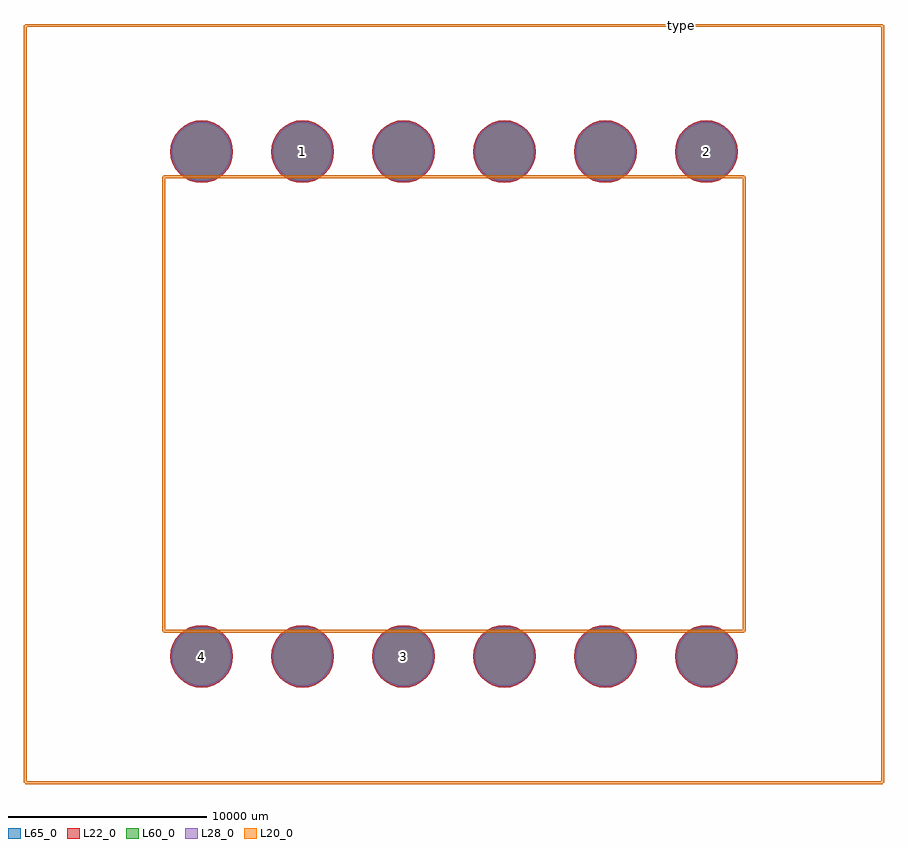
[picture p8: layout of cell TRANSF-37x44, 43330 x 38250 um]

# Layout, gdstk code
import gdstk
lib = gdstk.Library(unit=1e-6, precision=1e-09)
def P(c, l, *ps):  # polygons
    for p in ps: c.add(gdstk.Polygon(p, *l))
L20_0 = (20, 0)
L22_0 = (22, 0)
L28_0 = (28, 0)
L60_0 = (60, 0)
L65_0 = (65, 0)

transf_37x44 = lib.new_cell('TRANSF-37x44')
P(transf_37x44, L22_0, [(14274.87,-12700),(14244.609,-12392.758),(14154.99,-12097.323),(14009.457,-11825.049),(13813.601,-11586.399),(13574.951,-11390.543),(13302.677,-11245.01),(13007.242,-11155.391),(12700,-11125.13),(12392.758,-11155.391),(12097.323,-11245.01),(11825.049,-11390.543),(11586.399,-11586.399),(11390.543,-11825.049),(11245.01,-12097.323),(11155.391,-12392.758),(11125.13,-12700),(11155.391,-13007.242),(11245.01,-13302.677),(11390.543,-13574.951),(11586.399,-13813.601),(11825.049,-14009.457),(12097.323,-14154.99),(12392.758,-14244.609),(12700,-14274.87),(13007.242,-14244.609),(13302.677,-14154.99),(13574.951,-14009.457),(13813.601,-13813.601),(14009.457,-13574.951),(14154.99,-13302.677),(14244.609,-13007.242)],
  [(9194.87,-12700),(9164.609,-12392.758),(9074.99,-12097.323),(8929.457,-11825.049),(8733.601,-11586.399),(8494.951,-11390.543),(8222.677,-11245.01),(7927.242,-11155.391),(7620,-11125.13),(7312.758,-11155.391),(7017.323,-11245.01),(6745.049,-11390.543),(6506.399,-11586.399),(6310.543,-11825.049),(6165.01,-12097.323),(6075.391,-12392.758),(6045.13,-12700),(6075.391,-13007.242),(6165.01,-13302.677),(6310.543,-13574.951),(6506.399,-13813.601),(6745.049,-14009.457),(7017.323,-14154.99),(7312.758,-14244.609),(7620,-14274.87),(7927.242,-14244.609),(8222.677,-14154.99),(8494.951,-14009.457),(8733.601,-13813.601),(8929.457,-13574.951),(9074.99,-13302.677),(9164.609,-13007.242)],
  [(4114.87,-12700),(4084.609,-12392.758),(3994.99,-12097.323),(3849.457,-11825.049),(3653.601,-11586.399),(3414.951,-11390.543),(3142.677,-11245.01),(2847.242,-11155.391),(2540,-11125.13),(2232.758,-11155.391),(1937.323,-11245.01),(1665.049,-11390.543),(1426.399,-11586.399),(1230.543,-11825.049),(1085.01,-12097.323),(995.391,-12392.758),(965.13,-12700),(995.391,-13007.242),(1085.01,-13302.677),(1230.543,-13574.951),(1426.399,-13813.601),(1665.049,-14009.457),(1937.323,-14154.99),(2232.758,-14244.609),(2540,-14274.87),(2847.242,-14244.609),(3142.677,-14154.99),(3414.951,-14009.457),(3653.601,-13813.601),(3849.457,-13574.951),(3994.99,-13302.677),(4084.609,-13007.242)],
  [(-6045.13,-12700),(-6075.391,-12392.758),(-6165.01,-12097.323),(-6310.543,-11825.049),(-6506.399,-11586.399),(-6745.049,-11390.543),(-7017.323,-11245.01),(-7312.758,-11155.391),(-7620,-11125.13),(-7927.242,-11155.391),(-8222.677,-11245.01),(-8494.951,-11390.543),(-8733.601,-11586.399),(-8929.457,-11825.049),(-9074.99,-12097.323),(-9164.609,-12392.758),(-9194.87,-12700),(-9164.609,-13007.242),(-9074.99,-13302.677),(-8929.457,-13574.951),(-8733.601,-13813.601),(-8494.951,-14009.457),(-8222.677,-14154.99),(-7927.242,-14244.609),(-7620,-14274.87),(-7312.758,-14244.609),(-7017.323,-14154.99),(-6745.049,-14009.457),(-6506.399,-13813.601),(-6310.543,-13574.951),(-6165.01,-13302.677),(-6075.391,-13007.242)],
  [(9194.87,12700),(9164.609,13007.242),(9074.99,13302.677),(8929.457,13574.951),(8733.601,13813.601),(8494.951,14009.457),(8222.677,14154.99),(7927.242,14244.609),(7620,14274.87),(7312.758,14244.609),(7017.323,14154.99),(6745.049,14009.457),(6506.399,13813.601),(6310.543,13574.951),(6165.01,13302.677),(6075.391,13007.242),(6045.13,12700),(6075.391,12392.758),(6165.01,12097.323),(6310.543,11825.049),(6506.399,11586.399),(6745.049,11390.543),(7017.323,11245.01),(7312.758,11155.391),(7620,11125.13),(7927.242,11155.391),(8222.677,11245.01),(8494.951,11390.543),(8733.601,11586.399),(8929.457,11825.049),(9074.99,12097.323),(9164.609,12392.758)],
  [(4114.87,12700),(4084.609,13007.242),(3994.99,13302.677),(3849.457,13574.951),(3653.601,13813.601),(3414.951,14009.457),(3142.677,14154.99),(2847.242,14244.609),(2540,14274.87),(2232.758,14244.609),(1937.323,14154.99),(1665.049,14009.457),(1426.399,13813.601),(1230.543,13574.951),(1085.01,13302.677),(995.391,13007.242),(965.13,12700),(995.391,12392.758),(1085.01,12097.323),(1230.543,11825.049),(1426.399,11586.399),(1665.049,11390.543),(1937.323,11245.01),(2232.758,11155.391),(2540,11125.13),(2847.242,11155.391),(3142.677,11245.01),(3414.951,11390.543),(3653.601,11586.399),(3849.457,11825.049),(3994.99,12097.323),(4084.609,12392.758)],
  [(-965.13,12700),(-995.391,13007.242),(-1085.01,13302.677),(-1230.543,13574.951),(-1426.399,13813.601),(-1665.049,14009.457),(-1937.323,14154.99),(-2232.758,14244.609),(-2540,14274.87),(-2847.242,14244.609),(-3142.677,14154.99),(-3414.951,14009.457),(-3653.601,13813.601),(-3849.457,13574.951),(-3994.99,13302.677),(-4084.609,13007.242),(-4114.87,12700),(-4084.609,12392.758),(-3994.99,12097.323),(-3849.457,11825.049),(-3653.601,11586.399),(-3414.951,11390.543),(-3142.677,11245.01),(-2847.242,11155.391),(-2540,11125.13),(-2232.758,11155.391),(-1937.323,11245.01),(-1665.049,11390.543),(-1426.399,11586.399),(-1230.543,11825.049),(-1085.01,12097.323),(-995.391,12392.758)],
  [(-11125.13,12700),(-11155.391,13007.242),(-11245.01,13302.677),(-11390.543,13574.951),(-11586.399,13813.601),(-11825.049,14009.457),(-12097.323,14154.99),(-12392.758,14244.609),(-12700,14274.87),(-13007.242,14244.609),(-13302.677,14154.99),(-13574.951,14009.457),(-13813.601,13813.601),(-14009.457,13574.951),(-14154.99,13302.677),(-14244.609,13007.242),(-14274.87,12700),(-14244.609,12392.758),(-14154.99,12097.323),(-14009.457,11825.049),(-13813.601,11586.399),(-13574.951,11390.543),(-13302.677,11245.01),(-13007.242,11155.391),(-12700,11125.13),(-12392.758,11155.391),(-12097.323,11245.01),(-11825.049,11390.543),(-11586.399,11586.399),(-11390.543,11825.049),(-11245.01,12097.323),(-11155.391,12392.758)],
  [(-6045.13,12700),(-6075.391,13007.242),(-6165.01,13302.677),(-6310.543,13574.951),(-6506.399,13813.601),(-6745.049,14009.457),(-7017.323,14154.99),(-7312.758,14244.609),(-7620,14274.87),(-7927.242,14244.609),(-8222.677,14154.99),(-8494.951,14009.457),(-8733.601,13813.601),(-8929.457,13574.951),(-9074.99,13302.677),(-9164.609,13007.242),(-9194.87,12700),(-9164.609,12392.758),(-9074.99,12097.323),(-8929.457,11825.049),(-8733.601,11586.399),(-8494.951,11390.543),(-8222.677,11245.01),(-7927.242,11155.391),(-7620,11125.13),(-7312.758,11155.391),(-7017.323,11245.01),(-6745.049,11390.543),(-6506.399,11586.399),(-6310.543,11825.049),(-6165.01,12097.323),(-6075.391,12392.758)],
  [(-965.13,-12700),(-995.391,-12392.758),(-1085.01,-12097.323),(-1230.543,-11825.049),(-1426.399,-11586.399),(-1665.049,-11390.543),(-1937.323,-11245.01),(-2232.758,-11155.391),(-2540,-11125.13),(-2847.242,-11155.391),(-3142.677,-11245.01),(-3414.951,-11390.543),(-3653.601,-11586.399),(-3849.457,-11825.049),(-3994.99,-12097.323),(-4084.609,-12392.758),(-4114.87,-12700),(-4084.609,-13007.242),(-3994.99,-13302.677),(-3849.457,-13574.951),(-3653.601,-13813.601),(-3414.951,-14009.457),(-3142.677,-14154.99),(-2847.242,-14244.609),(-2540,-14274.87),(-2232.758,-14244.609),(-1937.323,-14154.99),(-1665.049,-14009.457),(-1426.399,-13813.601),(-1230.543,-13574.951),(-1085.01,-13302.677),(-995.391,-13007.242)],
  [(-11125.13,-12700),(-11155.391,-12392.758),(-11245.01,-12097.323),(-11390.543,-11825.049),(-11586.399,-11586.399),(-11825.049,-11390.543),(-12097.323,-11245.01),(-12392.758,-11155.391),(-12700,-11125.13),(-13007.242,-11155.391),(-13302.677,-11245.01),(-13574.951,-11390.543),(-13813.601,-11586.399),(-14009.457,-11825.049),(-14154.99,-12097.323),(-14244.609,-12392.758),(-14274.87,-12700),(-14244.609,-13007.242),(-14154.99,-13302.677),(-14009.457,-13574.951),(-13813.601,-13813.601),(-13574.951,-14009.457),(-13302.677,-14154.99),(-13007.242,-14244.609),(-12700,-14274.87),(-12392.758,-14244.609),(-12097.323,-14154.99),(-11825.049,-14009.457),(-11586.399,-13813.601),(-11390.543,-13574.951),(-11245.01,-13302.677),(-11155.391,-13007.242)],
  [(14274.87,12700),(14244.609,13007.242),(14154.99,13302.677),(14009.457,13574.951),(13813.601,13813.601),(13574.951,14009.457),(13302.677,14154.99),(13007.242,14244.609),(12700,14274.87),(12392.758,14244.609),(12097.323,14154.99),(11825.049,14009.457),(11586.399,13813.601),(11390.543,13574.951),(11245.01,13302.677),(11155.391,13007.242),(11125.13,12700),(11155.391,12392.758),(11245.01,12097.323),(11390.543,11825.049),(11586.399,11586.399),(11825.049,11390.543),(12097.323,11245.01),(12392.758,11155.391),(12700,11125.13),(13007.242,11155.391),(13302.677,11245.01),(13574.951,11390.543),(13813.601,11586.399),(14009.457,11825.049),(14154.99,12097.323),(14244.609,12392.758)])
P(transf_37x44, L28_0, [(14199.87,-12700),(14171.05,-12407.39),(14085.699,-12126.025),(13947.096,-11866.717),(13760.568,-11639.432),(13533.283,-11452.904),(13273.975,-11314.301),(12992.61,-11228.95),(12700,-11200.13),(12407.39,-11228.95),(12126.025,-11314.301),(11866.717,-11452.904),(11639.432,-11639.432),(11452.904,-11866.717),(11314.301,-12126.025),(11228.95,-12407.39),(11200.13,-12700),(11228.95,-12992.61),(11314.301,-13273.975),(11452.904,-13533.283),(11639.432,-13760.568),(11866.717,-13947.096),(12126.025,-14085.699),(12407.39,-14171.05),(12700,-14199.87),(12992.61,-14171.05),(13273.975,-14085.699),(13533.283,-13947.096),(13760.568,-13760.568),(13947.096,-13533.283),(14085.699,-13273.975),(14171.05,-12992.61)],
  [(9119.87,-12700),(9091.05,-12407.39),(9005.699,-12126.025),(8867.096,-11866.717),(8680.568,-11639.432),(8453.283,-11452.904),(8193.975,-11314.301),(7912.61,-11228.95),(7620,-11200.13),(7327.39,-11228.95),(7046.025,-11314.301),(6786.717,-11452.904),(6559.432,-11639.432),(6372.904,-11866.717),(6234.301,-12126.025),(6148.95,-12407.39),(6120.13,-12700),(6148.95,-12992.61),(6234.301,-13273.975),(6372.904,-13533.283),(6559.432,-13760.568),(6786.717,-13947.096),(7046.025,-14085.699),(7327.39,-14171.05),(7620,-14199.87),(7912.61,-14171.05),(8193.975,-14085.699),(8453.283,-13947.096),(8680.568,-13760.568),(8867.096,-13533.283),(9005.699,-13273.975),(9091.05,-12992.61)],
  [(4039.87,-12700),(4011.05,-12407.39),(3925.699,-12126.025),(3787.096,-11866.717),(3600.568,-11639.432),(3373.283,-11452.904),(3113.975,-11314.301),(2832.61,-11228.95),(2540,-11200.13),(2247.39,-11228.95),(1966.025,-11314.301),(1706.717,-11452.904),(1479.432,-11639.432),(1292.904,-11866.717),(1154.301,-12126.025),(1068.95,-12407.39),(1040.13,-12700),(1068.95,-12992.61),(1154.301,-13273.975),(1292.904,-13533.283),(1479.432,-13760.568),(1706.717,-13947.096),(1966.025,-14085.699),(2247.39,-14171.05),(2540,-14199.87),(2832.61,-14171.05),(3113.975,-14085.699),(3373.283,-13947.096),(3600.568,-13760.568),(3787.096,-13533.283),(3925.699,-13273.975),(4011.05,-12992.61)],
  [(-6120.13,-12700),(-6148.95,-12407.39),(-6234.301,-12126.025),(-6372.904,-11866.717),(-6559.432,-11639.432),(-6786.717,-11452.904),(-7046.025,-11314.301),(-7327.39,-11228.95),(-7620,-11200.13),(-7912.61,-11228.95),(-8193.975,-11314.301),(-8453.283,-11452.904),(-8680.568,-11639.432),(-8867.096,-11866.717),(-9005.699,-12126.025),(-9091.05,-12407.39),(-9119.87,-12700),(-9091.05,-12992.61),(-9005.699,-13273.975),(-8867.096,-13533.283),(-8680.568,-13760.568),(-8453.283,-13947.096),(-8193.975,-14085.699),(-7912.61,-14171.05),(-7620,-14199.87),(-7327.39,-14171.05),(-7046.025,-14085.699),(-6786.717,-13947.096),(-6559.432,-13760.568),(-6372.904,-13533.283),(-6234.301,-13273.975),(-6148.95,-12992.61)],
  [(9119.87,12700),(9091.05,12992.61),(9005.699,13273.975),(8867.096,13533.283),(8680.568,13760.568),(8453.283,13947.096),(8193.975,14085.699),(7912.61,14171.05),(7620,14199.87),(7327.39,14171.05),(7046.025,14085.699),(6786.717,13947.096),(6559.432,13760.568),(6372.904,13533.283),(6234.301,13273.975),(6148.95,12992.61),(6120.13,12700),(6148.95,12407.39),(6234.301,12126.025),(6372.904,11866.717),(6559.432,11639.432),(6786.717,11452.904),(7046.025,11314.301),(7327.39,11228.95),(7620,11200.13),(7912.61,11228.95),(8193.975,11314.301),(8453.283,11452.904),(8680.568,11639.432),(8867.096,11866.717),(9005.699,12126.025),(9091.05,12407.39)],
  [(4039.87,12700),(4011.05,12992.61),(3925.699,13273.975),(3787.096,13533.283),(3600.568,13760.568),(3373.283,13947.096),(3113.975,14085.699),(2832.61,14171.05),(2540,14199.87),(2247.39,14171.05),(1966.025,14085.699),(1706.717,13947.096),(1479.432,13760.568),(1292.904,13533.283),(1154.301,13273.975),(1068.95,12992.61),(1040.13,12700),(1068.95,12407.39),(1154.301,12126.025),(1292.904,11866.717),(1479.432,11639.432),(1706.717,11452.904),(1966.025,11314.301),(2247.39,11228.95),(2540,11200.13),(2832.61,11228.95),(3113.975,11314.301),(3373.283,11452.904),(3600.568,11639.432),(3787.096,11866.717),(3925.699,12126.025),(4011.05,12407.39)],
  [(-1040.13,12700),(-1068.95,12992.61),(-1154.301,13273.975),(-1292.904,13533.283),(-1479.432,13760.568),(-1706.717,13947.096),(-1966.025,14085.699),(-2247.39,14171.05),(-2540,14199.87),(-2832.61,14171.05),(-3113.975,14085.699),(-3373.283,13947.096),(-3600.568,13760.568),(-3787.096,13533.283),(-3925.699,13273.975),(-4011.05,12992.61),(-4039.87,12700),(-4011.05,12407.39),(-3925.699,12126.025),(-3787.096,11866.717),(-3600.568,11639.432),(-3373.283,11452.904),(-3113.975,11314.301),(-2832.61,11228.95),(-2540,11200.13),(-2247.39,11228.95),(-1966.025,11314.301),(-1706.717,11452.904),(-1479.432,11639.432),(-1292.904,11866.717),(-1154.301,12126.025),(-1068.95,12407.39)],
  [(-11200.13,12700),(-11228.95,12992.61),(-11314.301,13273.975),(-11452.904,13533.283),(-11639.432,13760.568),(-11866.717,13947.096),(-12126.025,14085.699),(-12407.39,14171.05),(-12700,14199.87),(-12992.61,14171.05),(-13273.975,14085.699),(-13533.283,13947.096),(-13760.568,13760.568),(-13947.096,13533.283),(-14085.699,13273.975),(-14171.05,12992.61),(-14199.87,12700),(-14171.05,12407.39),(-14085.699,12126.025),(-13947.096,11866.717),(-13760.568,11639.432),(-13533.283,11452.904),(-13273.975,11314.301),(-12992.61,11228.95),(-12700,11200.13),(-12407.39,11228.95),(-12126.025,11314.301),(-11866.717,11452.904),(-11639.432,11639.432),(-11452.904,11866.717),(-11314.301,12126.025),(-11228.95,12407.39)],
  [(-6120.13,12700),(-6148.95,12992.61),(-6234.301,13273.975),(-6372.904,13533.283),(-6559.432,13760.568),(-6786.717,13947.096),(-7046.025,14085.699),(-7327.39,14171.05),(-7620,14199.87),(-7912.61,14171.05),(-8193.975,14085.699),(-8453.283,13947.096),(-8680.568,13760.568),(-8867.096,13533.283),(-9005.699,13273.975),(-9091.05,12992.61),(-9119.87,12700),(-9091.05,12407.39),(-9005.699,12126.025),(-8867.096,11866.717),(-8680.568,11639.432),(-8453.283,11452.904),(-8193.975,11314.301),(-7912.61,11228.95),(-7620,11200.13),(-7327.39,11228.95),(-7046.025,11314.301),(-6786.717,11452.904),(-6559.432,11639.432),(-6372.904,11866.717),(-6234.301,12126.025),(-6148.95,12407.39)],
  [(-1040.13,-12700),(-1068.95,-12407.39),(-1154.301,-12126.025),(-1292.904,-11866.717),(-1479.432,-11639.432),(-1706.717,-11452.904),(-1966.025,-11314.301),(-2247.39,-11228.95),(-2540,-11200.13),(-2832.61,-11228.95),(-3113.975,-11314.301),(-3373.283,-11452.904),(-3600.568,-11639.432),(-3787.096,-11866.717),(-3925.699,-12126.025),(-4011.05,-12407.39),(-4039.87,-12700),(-4011.05,-12992.61),(-3925.699,-13273.975),(-3787.096,-13533.283),(-3600.568,-13760.568),(-3373.283,-13947.096),(-3113.975,-14085.699),(-2832.61,-14171.05),(-2540,-14199.87),(-2247.39,-14171.05),(-1966.025,-14085.699),(-1706.717,-13947.096),(-1479.432,-13760.568),(-1292.904,-13533.283),(-1154.301,-13273.975),(-1068.95,-12992.61)],
  [(-11200.13,-12700),(-11228.95,-12407.39),(-11314.301,-12126.025),(-11452.904,-11866.717),(-11639.432,-11639.432),(-11866.717,-11452.904),(-12126.025,-11314.301),(-12407.39,-11228.95),(-12700,-11200.13),(-12992.61,-11228.95),(-13273.975,-11314.301),(-13533.283,-11452.904),(-13760.568,-11639.432),(-13947.096,-11866.717),(-14085.699,-12126.025),(-14171.05,-12407.39),(-14199.87,-12700),(-14171.05,-12992.61),(-14085.699,-13273.975),(-13947.096,-13533.283),(-13760.568,-13760.568),(-13533.283,-13947.096),(-13273.975,-14085.699),(-12992.61,-14171.05),(-12700,-14199.87),(-12407.39,-14171.05),(-12126.025,-14085.699),(-11866.717,-13947.096),(-11639.432,-13760.568),(-11452.904,-13533.283),(-11314.301,-13273.975),(-11228.95,-12992.61)],
  [(14199.87,12700),(14171.05,12992.61),(14085.699,13273.975),(13947.096,13533.283),(13760.568,13760.568),(13533.283,13947.096),(13273.975,14085.699),(12992.61,14171.05),(12700,14199.87),(12407.39,14171.05),(12126.025,14085.699),(11866.717,13947.096),(11639.432,13760.568),(11452.904,13533.283),(11314.301,13273.975),(11228.95,12992.61),(11200.13,12700),(11228.95,12407.39),(11314.301,12126.025),(11452.904,11866.717),(11639.432,11639.432),(11866.717,11452.904),(12126.025,11314.301),(12407.39,11228.95),(12700,11200.13),(12992.61,11228.95),(13273.975,11314.301),(13533.283,11452.904),(13760.568,11639.432),(13947.096,11866.717),(14085.699,12126.025),(14171.05,12407.39)])
P(transf_37x44, L60_0, [(14199.87,-12700),(14171.05,-12407.39),(14085.699,-12126.025),(13947.096,-11866.717),(13760.568,-11639.432),(13533.283,-11452.904),(13273.975,-11314.301),(12992.61,-11228.95),(12700,-11200.13),(12407.39,-11228.95),(12126.025,-11314.301),(11866.717,-11452.904),(11639.432,-11639.432),(11452.904,-11866.717),(11314.301,-12126.025),(11228.95,-12407.39),(11200.13,-12700),(11228.95,-12992.61),(11314.301,-13273.975),(11452.904,-13533.283),(11639.432,-13760.568),(11866.717,-13947.096),(12126.025,-14085.699),(12407.39,-14171.05),(12700,-14199.87),(12992.61,-14171.05),(13273.975,-14085.699),(13533.283,-13947.096),(13760.568,-13760.568),(13947.096,-13533.283),(14085.699,-13273.975),(14171.05,-12992.61)],
  [(9119.87,-12700),(9091.05,-12407.39),(9005.699,-12126.025),(8867.096,-11866.717),(8680.568,-11639.432),(8453.283,-11452.904),(8193.975,-11314.301),(7912.61,-11228.95),(7620,-11200.13),(7327.39,-11228.95),(7046.025,-11314.301),(6786.717,-11452.904),(6559.432,-11639.432),(6372.904,-11866.717),(6234.301,-12126.025),(6148.95,-12407.39),(6120.13,-12700),(6148.95,-12992.61),(6234.301,-13273.975),(6372.904,-13533.283),(6559.432,-13760.568),(6786.717,-13947.096),(7046.025,-14085.699),(7327.39,-14171.05),(7620,-14199.87),(7912.61,-14171.05),(8193.975,-14085.699),(8453.283,-13947.096),(8680.568,-13760.568),(8867.096,-13533.283),(9005.699,-13273.975),(9091.05,-12992.61)],
  [(4039.87,-12700),(4011.05,-12407.39),(3925.699,-12126.025),(3787.096,-11866.717),(3600.568,-11639.432),(3373.283,-11452.904),(3113.975,-11314.301),(2832.61,-11228.95),(2540,-11200.13),(2247.39,-11228.95),(1966.025,-11314.301),(1706.717,-11452.904),(1479.432,-11639.432),(1292.904,-11866.717),(1154.301,-12126.025),(1068.95,-12407.39),(1040.13,-12700),(1068.95,-12992.61),(1154.301,-13273.975),(1292.904,-13533.283),(1479.432,-13760.568),(1706.717,-13947.096),(1966.025,-14085.699),(2247.39,-14171.05),(2540,-14199.87),(2832.61,-14171.05),(3113.975,-14085.699),(3373.283,-13947.096),(3600.568,-13760.568),(3787.096,-13533.283),(3925.699,-13273.975),(4011.05,-12992.61)],
  [(-6120.13,-12700),(-6148.95,-12407.39),(-6234.301,-12126.025),(-6372.904,-11866.717),(-6559.432,-11639.432),(-6786.717,-11452.904),(-7046.025,-11314.301),(-7327.39,-11228.95),(-7620,-11200.13),(-7912.61,-11228.95),(-8193.975,-11314.301),(-8453.283,-11452.904),(-8680.568,-11639.432),(-8867.096,-11866.717),(-9005.699,-12126.025),(-9091.05,-12407.39),(-9119.87,-12700),(-9091.05,-12992.61),(-9005.699,-13273.975),(-8867.096,-13533.283),(-8680.568,-13760.568),(-8453.283,-13947.096),(-8193.975,-14085.699),(-7912.61,-14171.05),(-7620,-14199.87),(-7327.39,-14171.05),(-7046.025,-14085.699),(-6786.717,-13947.096),(-6559.432,-13760.568),(-6372.904,-13533.283),(-6234.301,-13273.975),(-6148.95,-12992.61)],
  [(9119.87,12700),(9091.05,12992.61),(9005.699,13273.975),(8867.096,13533.283),(8680.568,13760.568),(8453.283,13947.096),(8193.975,14085.699),(7912.61,14171.05),(7620,14199.87),(7327.39,14171.05),(7046.025,14085.699),(6786.717,13947.096),(6559.432,13760.568),(6372.904,13533.283),(6234.301,13273.975),(6148.95,12992.61),(6120.13,12700),(6148.95,12407.39),(6234.301,12126.025),(6372.904,11866.717),(6559.432,11639.432),(6786.717,11452.904),(7046.025,11314.301),(7327.39,11228.95),(7620,11200.13),(7912.61,11228.95),(8193.975,11314.301),(8453.283,11452.904),(8680.568,11639.432),(8867.096,11866.717),(9005.699,12126.025),(9091.05,12407.39)],
  [(4039.87,12700),(4011.05,12992.61),(3925.699,13273.975),(3787.096,13533.283),(3600.568,13760.568),(3373.283,13947.096),(3113.975,14085.699),(2832.61,14171.05),(2540,14199.87),(2247.39,14171.05),(1966.025,14085.699),(1706.717,13947.096),(1479.432,13760.568),(1292.904,13533.283),(1154.301,13273.975),(1068.95,12992.61),(1040.13,12700),(1068.95,12407.39),(1154.301,12126.025),(1292.904,11866.717),(1479.432,11639.432),(1706.717,11452.904),(1966.025,11314.301),(2247.39,11228.95),(2540,11200.13),(2832.61,11228.95),(3113.975,11314.301),(3373.283,11452.904),(3600.568,11639.432),(3787.096,11866.717),(3925.699,12126.025),(4011.05,12407.39)],
  [(-1040.13,12700),(-1068.95,12992.61),(-1154.301,13273.975),(-1292.904,13533.283),(-1479.432,13760.568),(-1706.717,13947.096),(-1966.025,14085.699),(-2247.39,14171.05),(-2540,14199.87),(-2832.61,14171.05),(-3113.975,14085.699),(-3373.283,13947.096),(-3600.568,13760.568),(-3787.096,13533.283),(-3925.699,13273.975),(-4011.05,12992.61),(-4039.87,12700),(-4011.05,12407.39),(-3925.699,12126.025),(-3787.096,11866.717),(-3600.568,11639.432),(-3373.283,11452.904),(-3113.975,11314.301),(-2832.61,11228.95),(-2540,11200.13),(-2247.39,11228.95),(-1966.025,11314.301),(-1706.717,11452.904),(-1479.432,11639.432),(-1292.904,11866.717),(-1154.301,12126.025),(-1068.95,12407.39)],
  [(-11200.13,12700),(-11228.95,12992.61),(-11314.301,13273.975),(-11452.904,13533.283),(-11639.432,13760.568),(-11866.717,13947.096),(-12126.025,14085.699),(-12407.39,14171.05),(-12700,14199.87),(-12992.61,14171.05),(-13273.975,14085.699),(-13533.283,13947.096),(-13760.568,13760.568),(-13947.096,13533.283),(-14085.699,13273.975),(-14171.05,12992.61),(-14199.87,12700),(-14171.05,12407.39),(-14085.699,12126.025),(-13947.096,11866.717),(-13760.568,11639.432),(-13533.283,11452.904),(-13273.975,11314.301),(-12992.61,11228.95),(-12700,11200.13),(-12407.39,11228.95),(-12126.025,11314.301),(-11866.717,11452.904),(-11639.432,11639.432),(-11452.904,11866.717),(-11314.301,12126.025),(-11228.95,12407.39)],
  [(-6120.13,12700),(-6148.95,12992.61),(-6234.301,13273.975),(-6372.904,13533.283),(-6559.432,13760.568),(-6786.717,13947.096),(-7046.025,14085.699),(-7327.39,14171.05),(-7620,14199.87),(-7912.61,14171.05),(-8193.975,14085.699),(-8453.283,13947.096),(-8680.568,13760.568),(-8867.096,13533.283),(-9005.699,13273.975),(-9091.05,12992.61),(-9119.87,12700),(-9091.05,12407.39),(-9005.699,12126.025),(-8867.096,11866.717),(-8680.568,11639.432),(-8453.283,11452.904),(-8193.975,11314.301),(-7912.61,11228.95),(-7620,11200.13),(-7327.39,11228.95),(-7046.025,11314.301),(-6786.717,11452.904),(-6559.432,11639.432),(-6372.904,11866.717),(-6234.301,12126.025),(-6148.95,12407.39)],
  [(-1040.13,-12700),(-1068.95,-12407.39),(-1154.301,-12126.025),(-1292.904,-11866.717),(-1479.432,-11639.432),(-1706.717,-11452.904),(-1966.025,-11314.301),(-2247.39,-11228.95),(-2540,-11200.13),(-2832.61,-11228.95),(-3113.975,-11314.301),(-3373.283,-11452.904),(-3600.568,-11639.432),(-3787.096,-11866.717),(-3925.699,-12126.025),(-4011.05,-12407.39),(-4039.87,-12700),(-4011.05,-12992.61),(-3925.699,-13273.975),(-3787.096,-13533.283),(-3600.568,-13760.568),(-3373.283,-13947.096),(-3113.975,-14085.699),(-2832.61,-14171.05),(-2540,-14199.87),(-2247.39,-14171.05),(-1966.025,-14085.699),(-1706.717,-13947.096),(-1479.432,-13760.568),(-1292.904,-13533.283),(-1154.301,-13273.975),(-1068.95,-12992.61)],
  [(-11200.13,-12700),(-11228.95,-12407.39),(-11314.301,-12126.025),(-11452.904,-11866.717),(-11639.432,-11639.432),(-11866.717,-11452.904),(-12126.025,-11314.301),(-12407.39,-11228.95),(-12700,-11200.13),(-12992.61,-11228.95),(-13273.975,-11314.301),(-13533.283,-11452.904),(-13760.568,-11639.432),(-13947.096,-11866.717),(-14085.699,-12126.025),(-14171.05,-12407.39),(-14199.87,-12700),(-14171.05,-12992.61),(-14085.699,-13273.975),(-13947.096,-13533.283),(-13760.568,-13760.568),(-13533.283,-13947.096),(-13273.975,-14085.699),(-12992.61,-14171.05),(-12700,-14199.87),(-12407.39,-14171.05),(-12126.025,-14085.699),(-11866.717,-13947.096),(-11639.432,-13760.568),(-11452.904,-13533.283),(-11314.301,-13273.975),(-11228.95,-12992.61)],
  [(14199.87,12700),(14171.05,12992.61),(14085.699,13273.975),(13947.096,13533.283),(13760.568,13760.568),(13533.283,13947.096),(13273.975,14085.699),(12992.61,14171.05),(12700,14199.87),(12407.39,14171.05),(12126.025,14085.699),(11866.717,13947.096),(11639.432,13760.568),(11452.904,13533.283),(11314.301,13273.975),(11228.95,12992.61),(11200.13,12700),(11228.95,12407.39),(11314.301,12126.025),(11452.904,11866.717),(11639.432,11639.432),(11866.717,11452.904),(12126.025,11314.301),(12407.39,11228.95),(12700,11200.13),(12992.61,11228.95),(13273.975,11314.301),(13533.283,11452.904),(13760.568,11639.432),(13947.096,11866.717),(14085.699,12126.025),(14171.05,12407.39)])
P(transf_37x44, L65_0, [(14274.87,-12700),(14244.609,-12392.758),(14154.99,-12097.323),(14009.457,-11825.049),(13813.601,-11586.399),(13574.951,-11390.543),(13302.677,-11245.01),(13007.242,-11155.391),(12700,-11125.13),(12392.758,-11155.391),(12097.323,-11245.01),(11825.049,-11390.543),(11586.399,-11586.399),(11390.543,-11825.049),(11245.01,-12097.323),(11155.391,-12392.758),(11125.13,-12700),(11155.391,-13007.242),(11245.01,-13302.677),(11390.543,-13574.951),(11586.399,-13813.601),(11825.049,-14009.457),(12097.323,-14154.99),(12392.758,-14244.609),(12700,-14274.87),(13007.242,-14244.609),(13302.677,-14154.99),(13574.951,-14009.457),(13813.601,-13813.601),(14009.457,-13574.951),(14154.99,-13302.677),(14244.609,-13007.242)],
  [(9194.87,-12700),(9164.609,-12392.758),(9074.99,-12097.323),(8929.457,-11825.049),(8733.601,-11586.399),(8494.951,-11390.543),(8222.677,-11245.01),(7927.242,-11155.391),(7620,-11125.13),(7312.758,-11155.391),(7017.323,-11245.01),(6745.049,-11390.543),(6506.399,-11586.399),(6310.543,-11825.049),(6165.01,-12097.323),(6075.391,-12392.758),(6045.13,-12700),(6075.391,-13007.242),(6165.01,-13302.677),(6310.543,-13574.951),(6506.399,-13813.601),(6745.049,-14009.457),(7017.323,-14154.99),(7312.758,-14244.609),(7620,-14274.87),(7927.242,-14244.609),(8222.677,-14154.99),(8494.951,-14009.457),(8733.601,-13813.601),(8929.457,-13574.951),(9074.99,-13302.677),(9164.609,-13007.242)],
  [(4114.87,-12700),(4084.609,-12392.758),(3994.99,-12097.323),(3849.457,-11825.049),(3653.601,-11586.399),(3414.951,-11390.543),(3142.677,-11245.01),(2847.242,-11155.391),(2540,-11125.13),(2232.758,-11155.391),(1937.323,-11245.01),(1665.049,-11390.543),(1426.399,-11586.399),(1230.543,-11825.049),(1085.01,-12097.323),(995.391,-12392.758),(965.13,-12700),(995.391,-13007.242),(1085.01,-13302.677),(1230.543,-13574.951),(1426.399,-13813.601),(1665.049,-14009.457),(1937.323,-14154.99),(2232.758,-14244.609),(2540,-14274.87),(2847.242,-14244.609),(3142.677,-14154.99),(3414.951,-14009.457),(3653.601,-13813.601),(3849.457,-13574.951),(3994.99,-13302.677),(4084.609,-13007.242)],
  [(-6045.13,-12700),(-6075.391,-12392.758),(-6165.01,-12097.323),(-6310.543,-11825.049),(-6506.399,-11586.399),(-6745.049,-11390.543),(-7017.323,-11245.01),(-7312.758,-11155.391),(-7620,-11125.13),(-7927.242,-11155.391),(-8222.677,-11245.01),(-8494.951,-11390.543),(-8733.601,-11586.399),(-8929.457,-11825.049),(-9074.99,-12097.323),(-9164.609,-12392.758),(-9194.87,-12700),(-9164.609,-13007.242),(-9074.99,-13302.677),(-8929.457,-13574.951),(-8733.601,-13813.601),(-8494.951,-14009.457),(-8222.677,-14154.99),(-7927.242,-14244.609),(-7620,-14274.87),(-7312.758,-14244.609),(-7017.323,-14154.99),(-6745.049,-14009.457),(-6506.399,-13813.601),(-6310.543,-13574.951),(-6165.01,-13302.677),(-6075.391,-13007.242)],
  [(9194.87,12700),(9164.609,13007.242),(9074.99,13302.677),(8929.457,13574.951),(8733.601,13813.601),(8494.951,14009.457),(8222.677,14154.99),(7927.242,14244.609),(7620,14274.87),(7312.758,14244.609),(7017.323,14154.99),(6745.049,14009.457),(6506.399,13813.601),(6310.543,13574.951),(6165.01,13302.677),(6075.391,13007.242),(6045.13,12700),(6075.391,12392.758),(6165.01,12097.323),(6310.543,11825.049),(6506.399,11586.399),(6745.049,11390.543),(7017.323,11245.01),(7312.758,11155.391),(7620,11125.13),(7927.242,11155.391),(8222.677,11245.01),(8494.951,11390.543),(8733.601,11586.399),(8929.457,11825.049),(9074.99,12097.323),(9164.609,12392.758)],
  [(4114.87,12700),(4084.609,13007.242),(3994.99,13302.677),(3849.457,13574.951),(3653.601,13813.601),(3414.951,14009.457),(3142.677,14154.99),(2847.242,14244.609),(2540,14274.87),(2232.758,14244.609),(1937.323,14154.99),(1665.049,14009.457),(1426.399,13813.601),(1230.543,13574.951),(1085.01,13302.677),(995.391,13007.242),(965.13,12700),(995.391,12392.758),(1085.01,12097.323),(1230.543,11825.049),(1426.399,11586.399),(1665.049,11390.543),(1937.323,11245.01),(2232.758,11155.391),(2540,11125.13),(2847.242,11155.391),(3142.677,11245.01),(3414.951,11390.543),(3653.601,11586.399),(3849.457,11825.049),(3994.99,12097.323),(4084.609,12392.758)],
  [(-965.13,12700),(-995.391,13007.242),(-1085.01,13302.677),(-1230.543,13574.951),(-1426.399,13813.601),(-1665.049,14009.457),(-1937.323,14154.99),(-2232.758,14244.609),(-2540,14274.87),(-2847.242,14244.609),(-3142.677,14154.99),(-3414.951,14009.457),(-3653.601,13813.601),(-3849.457,13574.951),(-3994.99,13302.677),(-4084.609,13007.242),(-4114.87,12700),(-4084.609,12392.758),(-3994.99,12097.323),(-3849.457,11825.049),(-3653.601,11586.399),(-3414.951,11390.543),(-3142.677,11245.01),(-2847.242,11155.391),(-2540,11125.13),(-2232.758,11155.391),(-1937.323,11245.01),(-1665.049,11390.543),(-1426.399,11586.399),(-1230.543,11825.049),(-1085.01,12097.323),(-995.391,12392.758)],
  [(-11125.13,12700),(-11155.391,13007.242),(-11245.01,13302.677),(-11390.543,13574.951),(-11586.399,13813.601),(-11825.049,14009.457),(-12097.323,14154.99),(-12392.758,14244.609),(-12700,14274.87),(-13007.242,14244.609),(-13302.677,14154.99),(-13574.951,14009.457),(-13813.601,13813.601),(-14009.457,13574.951),(-14154.99,13302.677),(-14244.609,13007.242),(-14274.87,12700),(-14244.609,12392.758),(-14154.99,12097.323),(-14009.457,11825.049),(-13813.601,11586.399),(-13574.951,11390.543),(-13302.677,11245.01),(-13007.242,11155.391),(-12700,11125.13),(-12392.758,11155.391),(-12097.323,11245.01),(-11825.049,11390.543),(-11586.399,11586.399),(-11390.543,11825.049),(-11245.01,12097.323),(-11155.391,12392.758)],
  [(-6045.13,12700),(-6075.391,13007.242),(-6165.01,13302.677),(-6310.543,13574.951),(-6506.399,13813.601),(-6745.049,14009.457),(-7017.323,14154.99),(-7312.758,14244.609),(-7620,14274.87),(-7927.242,14244.609),(-8222.677,14154.99),(-8494.951,14009.457),(-8733.601,13813.601),(-8929.457,13574.951),(-9074.99,13302.677),(-9164.609,13007.242),(-9194.87,12700),(-9164.609,12392.758),(-9074.99,12097.323),(-8929.457,11825.049),(-8733.601,11586.399),(-8494.951,11390.543),(-8222.677,11245.01),(-7927.242,11155.391),(-7620,11125.13),(-7312.758,11155.391),(-7017.323,11245.01),(-6745.049,11390.543),(-6506.399,11586.399),(-6310.543,11825.049),(-6165.01,12097.323),(-6075.391,12392.758)],
  [(-965.13,-12700),(-995.391,-12392.758),(-1085.01,-12097.323),(-1230.543,-11825.049),(-1426.399,-11586.399),(-1665.049,-11390.543),(-1937.323,-11245.01),(-2232.758,-11155.391),(-2540,-11125.13),(-2847.242,-11155.391),(-3142.677,-11245.01),(-3414.951,-11390.543),(-3653.601,-11586.399),(-3849.457,-11825.049),(-3994.99,-12097.323),(-4084.609,-12392.758),(-4114.87,-12700),(-4084.609,-13007.242),(-3994.99,-13302.677),(-3849.457,-13574.951),(-3653.601,-13813.601),(-3414.951,-14009.457),(-3142.677,-14154.99),(-2847.242,-14244.609),(-2540,-14274.87),(-2232.758,-14244.609),(-1937.323,-14154.99),(-1665.049,-14009.457),(-1426.399,-13813.601),(-1230.543,-13574.951),(-1085.01,-13302.677),(-995.391,-13007.242)],
  [(-11125.13,-12700),(-11155.391,-12392.758),(-11245.01,-12097.323),(-11390.543,-11825.049),(-11586.399,-11586.399),(-11825.049,-11390.543),(-12097.323,-11245.01),(-12392.758,-11155.391),(-12700,-11125.13),(-13007.242,-11155.391),(-13302.677,-11245.01),(-13574.951,-11390.543),(-13813.601,-11586.399),(-14009.457,-11825.049),(-14154.99,-12097.323),(-14244.609,-12392.758),(-14274.87,-12700),(-14244.609,-13007.242),(-14154.99,-13302.677),(-14009.457,-13574.951),(-13813.601,-13813.601),(-13574.951,-14009.457),(-13302.677,-14154.99),(-13007.242,-14244.609),(-12700,-14274.87),(-12392.758,-14244.609),(-12097.323,-14154.99),(-11825.049,-14009.457),(-11586.399,-13813.601),(-11390.543,-13574.951),(-11245.01,-13302.677),(-11155.391,-13007.242)],
  [(14274.87,12700),(14244.609,13007.242),(14154.99,13302.677),(14009.457,13574.951),(13813.601,13813.601),(13574.951,14009.457),(13302.677,14154.99),(13007.242,14244.609),(12700,14274.87),(12392.758,14244.609),(12097.323,14154.99),(11825.049,14009.457),(11586.399,13813.601),(11390.543,13574.951),(11245.01,13302.677),(11155.391,13007.242),(11125.13,12700),(11155.391,12392.758),(11245.01,12097.323),(11390.543,11825.049),(11586.399,11586.399),(11825.049,11390.543),(12097.323,11245.01),(12392.758,11155.391),(12700,11125.13),(13007.242,11155.391),(13302.677,11245.01),(13574.951,11390.543),(13813.601,11586.399),(14009.457,11825.049),(14154.99,12097.323),(14244.609,12392.758)])
transf_37x44.add(gdstk.FlexPath([(-21590,-19050),(-21590,19050)], 149.998, ends="flush", simple_path=True, layer=20, datatype=0))  # L20_0
transf_37x44.add(gdstk.FlexPath([(21590,-19050),(-21590,-19050)], 149.998, ends="flush", simple_path=True, layer=20, datatype=0))  # L20_0
transf_37x44.add(gdstk.FlexPath([(21590,19050),(21590,-19050)], 149.998, ends="flush", simple_path=True, layer=20, datatype=0))  # L20_0
transf_37x44.add(gdstk.FlexPath([(-21590,19050),(21590,19050)], 149.998, ends="flush", simple_path=True, layer=20, datatype=0))  # L20_0
transf_37x44.add(gdstk.FlexPath([(-14605,-11430),(-14605,11430)], 149.998, ends="flush", simple_path=True, layer=20, datatype=0))  # L20_0
transf_37x44.add(gdstk.FlexPath([(14605,-11430),(-14605,-11430)], 149.998, ends="flush", simple_path=True, layer=20, datatype=0))  # L20_0
transf_37x44.add(gdstk.FlexPath([(14605,11430),(14605,-11430)], 149.998, ends="flush", simple_path=True, layer=20, datatype=0))  # L20_0
transf_37x44.add(gdstk.FlexPath([(-14605,11430),(14605,11430)], 149.998, ends="flush", simple_path=True, layer=20, datatype=0))  # L20_0
transf_37x44.add(gdstk.Label('1', (-7620,12700), layer=28, texttype=0))
transf_37x44.add(gdstk.Label('3', (-2540,-12700), layer=28, texttype=0))
transf_37x44.add(gdstk.Label('4', (-12700,-12700), layer=28, texttype=0))
transf_37x44.add(gdstk.Label('2', (12700,12700), layer=28, texttype=0))
transf_37x44.add(gdstk.Label('type', (11430,19050), layer=9, texttype=0))
transf_37x44.add(gdstk.Label('devicename', (11430,24130), layer=9, texttype=0))

lib.write_gds('TRANSF-37x44.gds')
